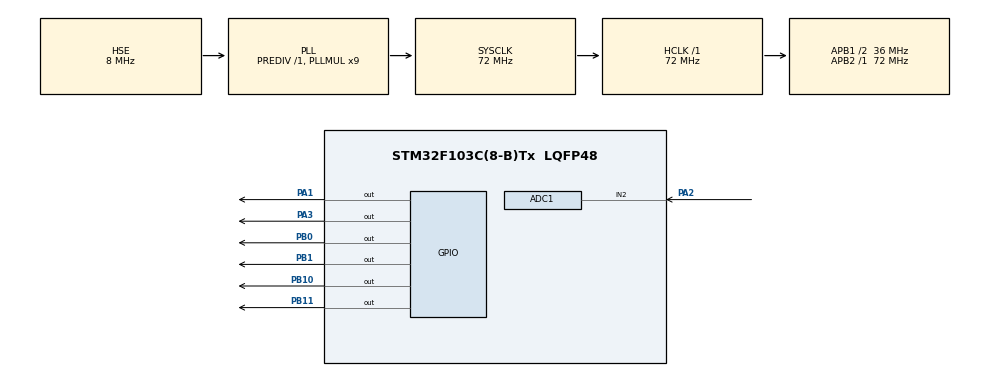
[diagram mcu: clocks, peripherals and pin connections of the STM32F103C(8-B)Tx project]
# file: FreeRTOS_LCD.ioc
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ADC1.Channel-3\#ChannelRegularConversion=ADC_CHANNEL_2
ADC1.ContinuousConvMode=ENABLE
ADC1.NbrOfConversionFlag=1
ADC1.Rank-3\#ChannelRegularConversion=1
ADC1.SamplingTime-3\#ChannelRegularConversion=ADC_SAMPLETIME_1CYCLE_5
ADC1.master=1
FREERTOS.Queues01=BrakeQ,16,uint16_t,0,Dynamic,NULL,NULL;ThrottleQ,16,uint16_t,0,Dynamic,NULL,NULL;GearQ,16,char,0,Dynamic,NULL,NULL;SpeedQ,16,uint16_t,0,Dynamic,NULL,NULL
FREERTOS.Tasks01=Brake,24,128,BrakeInput,Default,NULL,Dynamic,NULL,NULL;Throttle,8,128,ThrottleInput,Default,NULL,Dynamic,NULL,NULL;Gear,8,128,GearSelection,Default,NULL,Dynamic,NULL,NULL;Data,8,128,DataInput,Default,NULL,Dynamic,NULL,NULL;Display,8,128,DisplayInput,Default,NULL,Dynamic,NULL,NULL
FREERTOS.configTOTAL_HEAP_SIZE=4096
Mcu.Family=STM32F1
Mcu.Name=STM32F103C(8-B)Tx
Mcu.Package=LQFP48
NVIC.PriorityGroup=NVIC_PRIORITYGROUP_4
NVIC.TIM2_IRQn=true\:15\:0\:false\:false\:true\:false\:false\:true\:true
NVIC.TimeBase=TIM2_IRQn
NVIC.TimeBaseIP=TIM2
PA1.Signal=GPIO_Output
PA13.Mode=Serial_Wire
PA13.Signal=SYS_JTMS-SWDIO
PA14.Mode=Serial_Wire
PA14.Signal=SYS_JTCK-SWCLK
PA2.Signal=ADCx_IN2
PA3.Signal=GPIO_Output
PB0.Signal=GPIO_Output
PB1.Signal=GPIO_Output
PB10.Signal=GPIO_Output
PB11.Signal=GPIO_Output
PD0-OSC_IN.Mode=HSE-External-Oscillator
PD0-OSC_IN.Signal=RCC_OSC_IN
PD1-OSC_OUT.Mode=HSE-External-Oscillator
PD1-OSC_OUT.Signal=RCC_OSC_OUT
ProjectManager.HeapSize=0x200
ProjectManager.StackSize=0x400
ProjectManager.TargetToolchain=STM32CubeIDE
RCC.ADCPresc=RCC_ADCPCLK2_DIV6
RCC.AHBFreq_Value=72000000
RCC.APB1CLKDivider=RCC_HCLK_DIV2
RCC.APB1Freq_Value=36000000
RCC.APB1TimFreq_Value=72000000
RCC.APB2Freq_Value=72000000
RCC.APB2TimFreq_Value=72000000
RCC.HCLKFreq_Value=72000000
RCC.PLLMUL=RCC_PLL_MUL9
RCC.PLLSourceVirtual=RCC_PLLSOURCE_HSE
RCC.SYSCLKFreq_VALUE=72000000
RCC.SYSCLKSource=RCC_SYSCLKSOURCE_PLLCLK
RCC.USBFreq_Value=72000000
SH.ADCx_IN2.0=ADC1_IN2,IN2
VP_FREERTOS_VS_CMSIS_V2.Mode=CMSIS_V2
VP_SYS_VS_tim2.Mode=TIM2
board=custom

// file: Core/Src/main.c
/* USER CODE BEGIN Header */
/**
  ******************************************************************************
  * @file           : main.c for freeRTOS final assignment
  * @brief          : Main program body
  ******************************************************************************
  * @attention
  *
  * Copyright (c) 2022 STMicroelectronics.
  * All rights reserved.
  *
  * This software is licensed under terms that can be found in the LICENSE file
  * in the root directory of this software component.
  * If no LICENSE file comes with this software, it is provided AS-IS.
  *
  ******************************************************************************
  */
/* USER CODE END Header */
#include "main.h"
#include "cmsis_os.h"

/* USER CODE BEGIN Includes */
#include "lcd.h"
/* USER CODE END Includes */

ADC_HandleTypeDef hadc1;

/* Definitions for Brake */
osThreadId_t BrakeHandle;
const osThreadAttr_t Brake_attributes = {
  .name = "Brake",
  .stack_size = 128 * 4,
  .priority = (osPriority_t) osPriorityNormal,
};
/* Definitions for Throttle */
osThreadId_t ThrottleHandle;
const osThreadAttr_t Throttle_attributes = {
  .name = "Throttle",
  .stack_size = 128 * 4,
  .priority = (osPriority_t) osPriorityLow,
};
/* Definitions for Gear */
osThreadId_t GearHandle;
const osThreadAttr_t Gear_attributes = {
  .name = "Gear",
  .stack_size = 128 * 4,
  .priority = (osPriority_t) osPriorityLow,
};
/* Definitions for Data */
osThreadId_t DataHandle;
const osThreadAttr_t Data_attributes = {
  .name = "Data",
  .stack_size = 128 * 4,
  .priority = (osPriority_t) osPriorityLow,
};
/* Definitions for Display */
osThreadId_t DisplayHandle;
const osThreadAttr_t Display_attributes = {
  .name = "Display",
  .stack_size = 128 * 4,
  .priority = (osPriority_t) osPriorityLow,
};
/* Definitions for BrakeQ */
osMessageQueueId_t BrakeQHandle;
const osMessageQueueAttr_t BrakeQ_attributes = {
  .name = "BrakeQ"
};
/* Definitions for ThrottleQ */
osMessageQueueId_t ThrottleQHandle;
const osMessageQueueAttr_t ThrottleQ_attributes = {
  .name = "ThrottleQ"
};
/* Definitions for GearQ */
osMessageQueueId_t GearQHandle;
const osMessageQueueAttr_t GearQ_attributes = {
  .name = "GearQ"
};
/* Definitions for SpeedQ */
osMessageQueueId_t SpeedQHandle;
const osMessageQueueAttr_t SpeedQ_attributes = {
  .name = "SpeedQ"
};

void SystemClock_Config(void);
static void MX_GPIO_Init(void);
static void MX_ADC1_Init(void);
void BrakeInput(void *argument);
void ThrottleInput(void *argument);
void GearSelection(void *argument);
void DataInput(void *argument);
void DisplayInput(void *argument);

/* USER CODE BEGIN 0 */
uint16_t readValue;
/* USER CODE END 0 */

int main(void)
{

  /* MCU Configuration--------------------------------------------------------*/

  /* Reset of all peripherals, Initializes the Flash interface and the Systick. */
  HAL_Init();

  /* Configure the system clock */
  SystemClock_Config();

  /* Initialize all configured peripherals */
  MX_GPIO_Init();
  MX_ADC1_Init();
  /* USER CODE BEGIN 2 */
  HAL_ADC_Start(&hadc1);

  // Lcd_PortType ports[] = { D4_GPIO_Port, D5_GPIO_Port, D6_GPIO_Port, D7_GPIO_Port };
    Lcd_PortType ports[] = { GPIOB, GPIOB, GPIOB, GPIOB };
    // Lcd_PinType pins[] = {D4_Pin, D5_Pin, D6_Pin, D7_Pin};
    Lcd_PinType pins[] = {GPIO_PIN_0, GPIO_PIN_1, GPIO_PIN_10, GPIO_PIN_11};
    Lcd_HandleTypeDef lcd;
    // Lcd_create(ports, pins, RS_GPIO_Port, RS_Pin, EN_GPIO_Port, EN_Pin, LCD_4_BIT_MODE);
    lcd = Lcd_create(ports, pins, GPIOA, GPIO_PIN_1, GPIOA, GPIO_PIN_3, LCD_4_BIT_MODE);

  /* USER CODE END 2 */

  /* Init scheduler */
  osKernelInitialize();

  /* Create the queue(s) */
  /* creation of BrakeQ */
  BrakeQHandle = osMessageQueueNew (16, sizeof(uint16_t), &BrakeQ_attributes);

  /* creation of ThrottleQ */
  ThrottleQHandle = osMessageQueueNew (16, sizeof(uint16_t), &ThrottleQ_attributes);

  /* creation of GearQ */
  GearQHandle = osMessageQueueNew (16, sizeof(char), &GearQ_attributes);

  /* creation of SpeedQ */
  SpeedQHandle = osMessageQueueNew (16, sizeof(uint16_t), &SpeedQ_attributes);

  /* Create the thread(s) */
  /* creation of Brake */
  BrakeHandle = osThreadNew(BrakeInput, NULL, &Brake_attributes);

  /* creation of Throttle */
  ThrottleHandle = osThreadNew(ThrottleInput, NULL, &Throttle_attributes);

  /* creation of Gear */
  GearHandle = osThreadNew(GearSelection, NULL, &Gear_attributes);

  /* creation of Data */
  DataHandle = osThreadNew(DataInput, NULL, &Data_attributes);

  /* creation of Display */
  DisplayHandle = osThreadNew(DisplayInput, NULL, &Display_attributes);

  /* Start scheduler */
  osKernelStart();

  /* We should never get here as control is now taken by the scheduler */
  /* Infinite loop */
  while (1)
  {

  }
}

void SystemClock_Config(void)
{
  RCC_OscInitTypeDef RCC_OscInitStruct = {0};
  RCC_ClkInitTypeDef RCC_ClkInitStruct = {0};
  RCC_PeriphCLKInitTypeDef PeriphClkInit = {0};

  /** Initializes the RCC Oscillators according to the specified parameters
  * in the RCC_OscInitTypeDef structure.
  */
  RCC_OscInitStruct.OscillatorType = RCC_OSCILLATORTYPE_HSE;
  RCC_OscInitStruct.HSEState = RCC_HSE_ON;
  RCC_OscInitStruct.HSEPredivValue = RCC_HSE_PREDIV_DIV1;
  RCC_OscInitStruct.HSIState = RCC_HSI_ON;
  RCC_OscInitStruct.PLL.PLLState = RCC_PLL_ON;
  RCC_OscInitStruct.PLL.PLLSource = RCC_PLLSOURCE_HSE;
  RCC_OscInitStruct.PLL.PLLMUL = RCC_PLL_MUL9;
  if (HAL_RCC_OscConfig(&RCC_OscInitStruct) != HAL_OK)
  {
    Error_Handler();
  }

  /** Initializes the CPU, AHB and APB buses clocks
  */
  RCC_ClkInitStruct.ClockType = RCC_CLOCKTYPE_HCLK|RCC_CLOCKTYPE_SYSCLK
                              |RCC_CLOCKTYPE_PCLK1|RCC_CLOCKTYPE_PCLK2;
  RCC_ClkInitStruct.SYSCLKSource = RCC_SYSCLKSOURCE_PLLCLK;
  RCC_ClkInitStruct.AHBCLKDivider = RCC_SYSCLK_DIV1;
  RCC_ClkInitStruct.APB1CLKDivider = RCC_HCLK_DIV2;
  RCC_ClkInitStruct.APB2CLKDivider = RCC_HCLK_DIV1;

  if (HAL_RCC_ClockConfig(&RCC_ClkInitStruct, FLASH_LATENCY_2) != HAL_OK)
  {
    Error_Handler();
  }
  PeriphClkInit.PeriphClockSelection = RCC_PERIPHCLK_ADC;
  PeriphClkInit.AdcClockSelection = RCC_ADCPCLK2_DIV6;
  if (HAL_RCCEx_PeriphCLKConfig(&PeriphClkInit) != HAL_OK)
  {
    Error_Handler();
  }
}

static void MX_ADC1_Init(void)
{

  ADC_ChannelConfTypeDef sConfig = {0};

  /** Common config
  */
  hadc1.Instance = ADC1;
  hadc1.Init.ScanConvMode = ADC_SCAN_DISABLE;
  hadc1.Init.ContinuousConvMode = ENABLE;
  hadc1.Init.DiscontinuousConvMode = DISABLE;
  hadc1.Init.ExternalTrigConv = ADC_SOFTWARE_START;
  hadc1.Init.DataAlign = ADC_DATAALIGN_RIGHT;
  hadc1.Init.NbrOfConversion = 1;
  if (HAL_ADC_Init(&hadc1) != HAL_OK)
  {
    Error_Handler();
  }

  /** Configure Regular Channel
  */
  sConfig.Channel = ADC_CHANNEL_2;
  sConfig.Rank = ADC_REGULAR_RANK_1;
  sConfig.SamplingTime = ADC_SAMPLETIME_1CYCLE_5;
  if (HAL_ADC_ConfigChannel(&hadc1, &sConfig) != HAL_OK)
  {
    Error_Handler();
  }

}

static void MX_GPIO_Init(void)
{
  GPIO_InitTypeDef GPIO_InitStruct = {0};

  /* GPIO Ports Clock Enable */
  __HAL_RCC_GPIOD_CLK_ENABLE();
  __HAL_RCC_GPIOA_CLK_ENABLE();
  __HAL_RCC_GPIOB_CLK_ENABLE();

  /*Configure GPIO pin Output Level */
  HAL_GPIO_WritePin(GPIOA, GPIO_PIN_1|GPIO_PIN_3, GPIO_PIN_RESET);

  /*Configure GPIO pin Output Level */
  HAL_GPIO_WritePin(GPIOB, GPIO_PIN_0|GPIO_PIN_1|GPIO_PIN_10|GPIO_PIN_11, GPIO_PIN_RESET);

  /*Configure GPIO pins : PA1 PA3 */
  GPIO_InitStruct.Pin = GPIO_PIN_1|GPIO_PIN_3;
  GPIO_InitStruct.Mode = GPIO_MODE_OUTPUT_PP;
  GPIO_InitStruct.Pull = GPIO_NOPULL;
  GPIO_InitStruct.Speed = GPIO_SPEED_FREQ_LOW;
  HAL_GPIO_Init(GPIOA, &GPIO_InitStruct);

  /*Configure GPIO pins : PB0 PB1 PB10 PB11 */
  GPIO_InitStruct.Pin = GPIO_PIN_0|GPIO_PIN_1|GPIO_PIN_10|GPIO_PIN_11;
  GPIO_InitStruct.Mode = GPIO_MODE_OUTPUT_PP;
  GPIO_InitStruct.Pull = GPIO_NOPULL;
  GPIO_InitStruct.Speed = GPIO_SPEED_FREQ_LOW;
  HAL_GPIO_Init(GPIOB, &GPIO_InitStruct);

}

void BrakeInput(void *argument)
{
  /* USER CODE BEGIN 5 */
	// Lcd_PortType ports[] = { D4_GPIO_Port, D5_GPIO_Port, D6_GPIO_Port, D7_GPIO_Port };
	    Lcd_PortType ports[] = { GPIOB, GPIOB, GPIOB, GPIOB };
	    // Lcd_PinType pins[] = {D4_Pin, D5_Pin, D6_Pin, D7_Pin};
	    Lcd_PinType pins[] = {GPIO_PIN_0, GPIO_PIN_1, GPIO_PIN_10, GPIO_PIN_11};
	    Lcd_HandleTypeDef lcd;
	    // Lcd_create(ports, pins, RS_GPIO_Port, RS_Pin, EN_GPIO_Port, EN_Pin, LCD_4_BIT_MODE);
	    lcd = Lcd_create(ports, pins, GPIOA, GPIO_PIN_1, GPIOA, GPIO_PIN_3, LCD_4_BIT_MODE);
  /* Infinite loop */
  for(;;)
  {
	  HAL_ADC_PollForConversion(&hadc1,1000);
	  readValue = HAL_ADC_GetValue(&hadc1);
	  Lcd_cursor(&lcd, 0,0);
	  Lcd_string(&lcd, "Testing 3 LCD");
	  Lcd_cursor(&lcd, 1,0);
	  Lcd_int(&lcd, readValue);
	  Lcd_clear(&lcd);
	  osDelay(1);
  }
  /* USER CODE END 5 */
}

void ThrottleInput(void *argument)
{

  /* Infinite loop */
  for(;;)
  {

  }
  /* USER CODE END ThrottleInput */
}

void GearSelection(void *argument)
{
  for(;;)
  {
    osDelay(1);
  }
}

void DataInput(void *argument)
{
  for(;;)
  {
    osDelay(1);
  }
}

void DisplayInput(void *argument)
{
  /* USER CODE BEGIN DisplayInput */
	/* USER CODE BEGIN ThrottleInput */
		// Lcd_PortType ports[] = { D4_GPIO_Port, D5_GPIO_Port, D6_GPIO_Port, D7_GPIO_Port };
			Lcd_PortType ports[] = { GPIOB, GPIOB, GPIOB, GPIOB };
			// Lcd_PinType pins[] = {D4_Pin, D5_Pin, D6_Pin, D7_Pin};
			Lcd_PinType pins[] = {GPIO_PIN_0, GPIO_PIN_1, GPIO_PIN_10, GPIO_PIN_11};
			Lcd_HandleTypeDef lcd;
			// Lcd_create(ports, pins, RS_GPIO_Port, RS_Pin, EN_GPIO_Port, EN_Pin, LCD_4_BIT_MODE);
			lcd = Lcd_create(ports, pins, GPIOA, GPIO_PIN_1, GPIOA, GPIO_PIN_3, LCD_4_BIT_MODE);
  /* Infinite loop */
  for(;;)
  {
    osDelay(1);
  }
  /* USER CODE END DisplayInput */
}

void HAL_TIM_PeriodElapsedCallback(TIM_HandleTypeDef *htim)
{
  if (htim->Instance == TIM2) {
    HAL_IncTick();
  }
}

void Error_Handler(void)
{
  __disable_irq();
  while (1)
  {
  }
}
